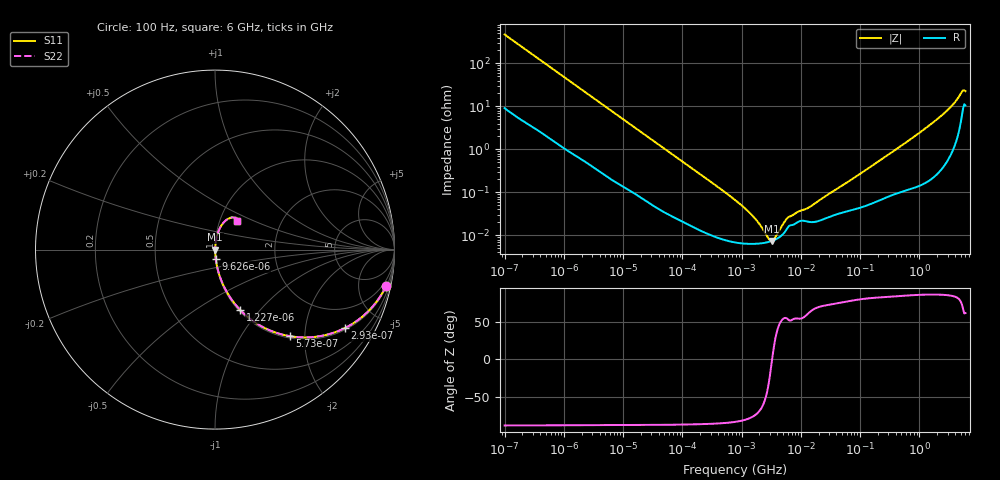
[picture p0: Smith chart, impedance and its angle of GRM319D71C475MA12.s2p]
!Murata Part Number: GRM319D71C475MA12
!These Parameters are Measured in Series Mode Connection
!Data Generated on Mar 30, 2021
!  o--ll--o
!Port1  Port2
!  o------o
!Operation Temp=25[degC], DC Bias Voltage=0[V]
!Freq. Start=100[Hz] Stop=6[GHz] 401[Steps]
# Hz S RI R 50
!Freq.(Hz) S11(Real) S11(Imag) S21(Real) S21(Imag) S12(Real) S12(Imag) S22(Real) S22(Imag)
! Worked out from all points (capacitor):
!   401 points, 100 Hz to 6 GHz, reference 50 ohm
!   read as one part in series: C = 3.36 uF near 109 Hz
!   lowest |Z| = 7.42 mohm at 3.246 MHz (marker M1)
!   series resonance near 3.279 MHz, so ESL is about 700 pH
!   S11 on the Smith chart (normalised r, x): 100 Hz: 1.18, -9.44; 293 Hz: 1.07, -3.26; 573 Hz: 1.04, -1.68; 1.227 kHz: 1.02, -0.79; 9.626 kHz: 1.00, -0.10; 6 GHz: 1.21, +0.40
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100  0.9535 -0.2012  0.0465 0.2012  0.0465 0.2012  0.9535 -0.2012
179  0.871 -0.3257  0.129 0.3257  0.129 0.3257  0.871 -0.3257
293  0.7229 -0.4374  0.2771 0.4374  0.2771 0.4374  0.7229 -0.4374
573  0.4164 -0.4823  0.5836 0.4823  0.5836 0.4823  0.4164 -0.4823
1227  0.1417 -0.3378  0.8583 0.3378  0.8583 0.3378  0.1417 -0.3378
2008  0.0612 -0.2281  0.9388 0.2281  0.9388 0.2281  0.0612 -0.2281
4111  0.0172 -0.1183  0.9828 0.1183  0.9828 0.1183  0.0172 -0.1183
9626  0.00411 -0.0519  0.9959 0.0519  0.9959 0.0519  0.00411 -0.0519
40335  0.000568 -0.0128  0.9994 0.0128  0.9994 0.0128  0.000568 -0.0128
774597  6.88e-05 -0.000663  0.9999 0.000663  0.9999 0.000663  6.88e-05 -0.000663
1585629  6.34e-05 -0.000264  0.9999 0.000264  0.9999 0.000264  6.34e-05 -0.000264
2594782  6.81e-05 -7.92e-05  0.9999 7.92e-05  0.9999 7.92e-05  6.81e-05 -7.92e-05
3245845  7.41e-05 -3.4e-06  0.9999 3.4e-06  0.9999 3.4e-06  7.41e-05 -3.4e-06
3712478  8e-05 4.21e-05  0.9999 -4.21e-05  0.9999 -4.21e-05  8e-05 4.21e-05
4060267  8.54e-05 7.3e-05  0.9999 -7.3e-05  0.9999 -7.3e-05  8.54e-05 7.3e-05
6075234  0.000154 0.00021  0.9998 -0.00021  0.9998 -0.00021  0.000154 0.00021
1.555665e7  0.000203 0.000456  0.9998 -0.000456  0.9998 -0.000456  0.000203 0.000456
3.124326e8  0.000874 0.00778  0.9991 -0.00778  0.9991 -0.00778  0.000874 0.00778
1.95892e9  0.00496 0.0488  0.995 -0.0488  0.995 -0.0488  0.00496 0.0488
3.352442e9  0.0159 0.093  0.9841 -0.093  0.9841 -0.093  0.0159 0.093
5.245841e9  0.0939 0.1794  0.9061 -0.1794  0.9061 -0.1794  0.0939 0.1794
6e9  0.1246 0.1584  0.8754 -0.1584  0.8754 -0.1584  0.1246 0.1584
